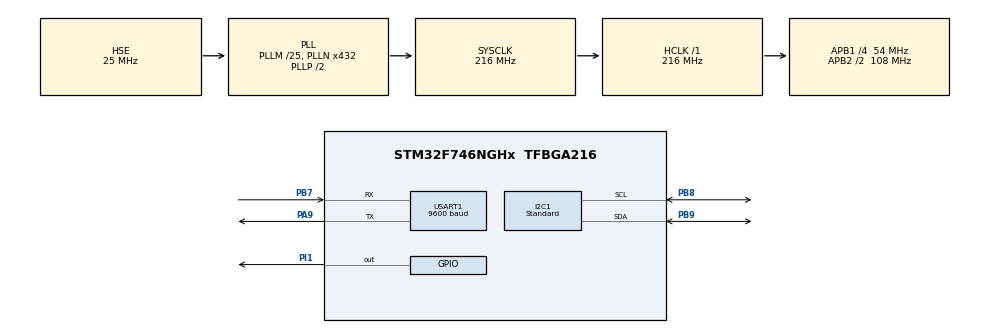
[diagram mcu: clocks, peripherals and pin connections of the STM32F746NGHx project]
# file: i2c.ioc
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CORTEX_M7.ART_ACCLERATOR_ENABLE=1
CORTEX_M7.CPU_DCache=Enabled
CORTEX_M7.CPU_ICache=Enabled
CORTEX_M7.PREFETCH_ENABLE=1
I2C1.I2C_Fall_Time=100
I2C1.I2C_Rise_Time=700
I2C1.I2C_Speed_Mode=I2C_Standard
I2C1.Timing=0x30C03444
Mcu.Family=STM32F7
Mcu.Name=STM32F746NGHx
Mcu.Package=TFBGA216
NVIC.PriorityGroup=NVIC_PRIORITYGROUP_4
NVIC.RCC_IRQn=true\:0\:0\:false\:false\:true\:true
PA13.Mode=Serial_Wire
PA13.Signal=SYS_JTMS-SWDIO
PA14.Mode=Serial_Wire
PA14.Signal=SYS_JTCK-SWCLK
PA9.Mode=Asynchronous
PA9.Signal=USART1_TX
PB7.Mode=Asynchronous
PB7.Signal=USART1_RX
PB8.Mode=I2C
PB8.Signal=I2C1_SCL
PB9.Mode=I2C
PB9.Signal=I2C1_SDA
PH0/OSC_IN.Mode=HSE-External-Oscillator
PH0/OSC_IN.Signal=RCC_OSC_IN
PH1/OSC_OUT.Mode=HSE-External-Oscillator
PH1/OSC_OUT.Signal=RCC_OSC_OUT
PI1.Signal=GPIO_Output
ProjectManager.HeapSize=0x200
ProjectManager.StackSize=0x400
ProjectManager.TargetToolchain=MDK-ARM V5
RCC.AHBFreq_Value=216000000
RCC.APB1CLKDivider=RCC_HCLK_DIV4
RCC.APB1Freq_Value=54000000
RCC.APB1TimFreq_Value=108000000
RCC.APB2CLKDivider=RCC_HCLK_DIV2
RCC.APB2Freq_Value=108000000
RCC.APB2TimFreq_Value=216000000
RCC.CortexFreq_Value=216000000
RCC.HCLKFreq_Value=216000000
RCC.HSE_VALUE=25000000
RCC.HSI_VALUE=16000000
RCC.LSE_VALUE=32768
RCC.PLL48CLockSelection=RCC_CLK48SOURCE_PLLSAIP
RCC.PLLI2SN=100
RCC.PLLM=25
RCC.PLLN=432
RCC.PLLQ=9
RCC.PLLSAIN=384
RCC.PLLSAIP=RCC_PLLSAIP_DIV8
RCC.PLLSAIR=5
RCC.PLLSAIRDiv=RCC_PLLSAIDIVR_8
RCC.PLLSourceVirtual=RCC_PLLSOURCE_HSE
RCC.SDMMCClockSelection=RCC_SDMMC1CLKSOURCE_CLK48
RCC.SYSCLKFreq_VALUE=216000000
RCC.SYSCLKSource=RCC_SYSCLKSOURCE_PLLCLK
RCC.USBFreq_Value=48000000
RCC.VCOOutputFreq_Value=432000000
USART1.BaudRate=9600
USART1.VirtualMode-Asynchronous=VM_ASYNC
board=32F746GDISCOVERY

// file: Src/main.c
/**
  ******************************************************************************
  * @file           : main.c
  * @brief          : Main program body
  ******************************************************************************
  ** This notice applies to any and all portions of this file
  * that are not between comment pairs USER CODE BEGIN and
  * USER CODE END. Other portions of this file, whether
  * inserted by the user or by software development tools
  * are owned by their respective copyright owners.
  *
  * COPYRIGHT(c) 2018 STMicroelectronics
  *
  * Redistribution and use in source and binary forms, with or without modification,
  * are permitted provided that the following conditions are met:
  *   1. Redistributions of source code must retain the above copyright notice,
  *      this list of conditions and the following disclaimer.
  *   2. Redistributions in binary form must reproduce the above copyright notice,
  *      this list of conditions and the following disclaimer in the documentation
  *      and/or other materials provided with the distribution.
  *   3. Neither the name of STMicroelectronics nor the names of its contributors
  *      may be used to endorse or promote products derived from this software
  *      without specific prior written permission.
  *
  * THIS SOFTWARE IS PROVIDED BY THE COPYRIGHT HOLDERS AND CONTRIBUTORS "AS IS"
  * AND ANY EXPRESS OR IMPLIED WARRANTIES, INCLUDING, BUT NOT LIMITED TO, THE
  * IMPLIED WARRANTIES OF MERCHANTABILITY AND FITNESS FOR A PARTICULAR PURPOSE ARE
  * DISCLAIMED. IN NO EVENT SHALL THE COPYRIGHT HOLDER OR CONTRIBUTORS BE LIABLE
  * FOR ANY DIRECT, INDIRECT, INCIDENTAL, SPECIAL, EXEMPLARY, OR CONSEQUENTIAL
  * DAMAGES (INCLUDING, BUT NOT LIMITED TO, PROCUREMENT OF SUBSTITUTE GOODS OR
  * SERVICES; LOSS OF USE, DATA, OR PROFITS; OR BUSINESS INTERRUPTION) HOWEVER
  * CAUSED AND ON ANY THEORY OF LIABILITY, WHETHER IN CONTRACT, STRICT LIABILITY,
  * OR TORT (INCLUDING NEGLIGENCE OR OTHERWISE) ARISING IN ANY WAY OUT OF THE USE
  * OF THIS SOFTWARE, EVEN IF ADVISED OF THE POSSIBILITY OF SUCH DAMAGE.
  *
  ******************************************************************************
  */
#include "main.h"
#include "stm32f7xx_hal.h"

I2C_HandleTypeDef hi2c1;

UART_HandleTypeDef huart1;

/* USER CODE BEGIN PV */
/* Private variables ---------------------------------------------------------*/
#define mpu_address 0xD0
#define mpu_read_address 0xD1
 uint8_t i2cBuf[8];
uint16_t ax,ay,az;
float Xaccel,Yaccel,Zaccel;

/* USER CODE END PV */

void SystemClock_Config(void);
static void MX_GPIO_Init(void);
static void MX_I2C1_Init(void);
static void MX_USART1_UART_Init(void);

/* USER CODE BEGIN PFP */
/* Private function prototypes -----------------------------------------------*/

/* USER CODE END PFP */

int main(void)
{

  /* Enable I-Cache-------------------------------------------------------------*/
  SCB_EnableICache();

  /* Enable D-Cache-------------------------------------------------------------*/
  SCB_EnableDCache();

  /* MCU Configuration----------------------------------------------------------*/

  /* Reset of all peripherals, Initializes the Flash interface and the Systick. */
  HAL_Init();

  /* Configure the system clock */
  SystemClock_Config();

  /* Initialize all configured peripherals */
  MX_GPIO_Init();
  MX_I2C1_Init();
  MX_USART1_UART_Init();
  /* USER CODE BEGIN 2 */
	/*********************Scanning the I2C address*********************/
	for(uint8_t i=0;i<255;i++)
	{
		if(HAL_I2C_IsDeviceReady(&hi2c1,i,1,10)==HAL_OK)
		{
			HAL_GPIO_TogglePin(GPIOI,GPIO_PIN_1);
			break;
		}
	}

	//I2C Write
	//a.Set Accelerometer Range
	i2cBuf[0] = 28;		//Register Address; Accelerometer config 1
	i2cBuf[1] = 0x08;		//Write this value for the +-4g range
	HAL_I2C_Master_Transmit(&hi2c1,mpu_address,i2cBuf,2,1000);

	//I2C Read
	//Requesting to read from register of address 28
	i2cBuf[0] = 28;
	HAL_I2C_Master_Transmit(&hi2c1,mpu_address,i2cBuf,1,10);
	//Read I2C
	i2cBuf[1] = 0x00;
	HAL_I2C_Mem_Read(&hi2c1, mpu_address|0x01,28, 8, &i2cBuf[1], 1, 1000);
	//HAL_I2C_Master_Receive(&hi2c1,mpu_address,&i2cBuf[1],1,1000);
  /* USER CODE END 2 */

  /* Infinite loop */
  /* USER CODE BEGIN WHILE */
  while (1)
  {

		//I2C Read
	//Requesting to read Accelerometer data
	i2cBuf[0] = 0x3B;		// X_axis H
	HAL_I2C_Master_Transmit(&hi2c1,mpu_address,i2cBuf,1,10);
	//Read I2C data
	i2cBuf[1] = 0x00;
	HAL_I2C_Master_Receive(&hi2c1,mpu_address|0x01,&i2cBuf[1],6,10);

		ax = -(i2cBuf[1]<<8 | i2cBuf[2]);
		ay = -(i2cBuf[3]<<8 | i2cBuf[4]);
		az = -(i2cBuf[5]<<8 | i2cBuf[6]);

		Xaccel = ax/8192;
		Yaccel = ay/8192;
		Zaccel = az/8192;

  /* USER CODE END WHILE */

  }

}

void SystemClock_Config(void)
{

  RCC_OscInitTypeDef RCC_OscInitStruct;
  RCC_ClkInitTypeDef RCC_ClkInitStruct;
  RCC_PeriphCLKInitTypeDef PeriphClkInitStruct;

    /**Configure the main internal regulator output voltage
    */
  __HAL_RCC_PWR_CLK_ENABLE();

  __HAL_PWR_VOLTAGESCALING_CONFIG(PWR_REGULATOR_VOLTAGE_SCALE1);

    /**Initializes the CPU, AHB and APB busses clocks
    */
  RCC_OscInitStruct.OscillatorType = RCC_OSCILLATORTYPE_HSE;
  RCC_OscInitStruct.HSEState = RCC_HSE_ON;
  RCC_OscInitStruct.PLL.PLLState = RCC_PLL_ON;
  RCC_OscInitStruct.PLL.PLLSource = RCC_PLLSOURCE_HSE;
  RCC_OscInitStruct.PLL.PLLM = 25;
  RCC_OscInitStruct.PLL.PLLN = 432;
  RCC_OscInitStruct.PLL.PLLP = RCC_PLLP_DIV2;
  RCC_OscInitStruct.PLL.PLLQ = 9;
  if (HAL_RCC_OscConfig(&RCC_OscInitStruct) != HAL_OK)
  {
    _Error_Handler(__FILE__, __LINE__);
  }

    /**Activate the Over-Drive mode
    */
  if (HAL_PWREx_EnableOverDrive() != HAL_OK)
  {
    _Error_Handler(__FILE__, __LINE__);
  }

    /**Initializes the CPU, AHB and APB busses clocks
    */
  RCC_ClkInitStruct.ClockType = RCC_CLOCKTYPE_HCLK|RCC_CLOCKTYPE_SYSCLK
                              |RCC_CLOCKTYPE_PCLK1|RCC_CLOCKTYPE_PCLK2;
  RCC_ClkInitStruct.SYSCLKSource = RCC_SYSCLKSOURCE_PLLCLK;
  RCC_ClkInitStruct.AHBCLKDivider = RCC_SYSCLK_DIV1;
  RCC_ClkInitStruct.APB1CLKDivider = RCC_HCLK_DIV4;
  RCC_ClkInitStruct.APB2CLKDivider = RCC_HCLK_DIV2;

  if (HAL_RCC_ClockConfig(&RCC_ClkInitStruct, FLASH_LATENCY_7) != HAL_OK)
  {
    _Error_Handler(__FILE__, __LINE__);
  }

  PeriphClkInitStruct.PeriphClockSelection = RCC_PERIPHCLK_USART1|RCC_PERIPHCLK_I2C1;
  PeriphClkInitStruct.Usart1ClockSelection = RCC_USART1CLKSOURCE_PCLK2;
  PeriphClkInitStruct.I2c1ClockSelection = RCC_I2C1CLKSOURCE_PCLK1;
  if (HAL_RCCEx_PeriphCLKConfig(&PeriphClkInitStruct) != HAL_OK)
  {
    _Error_Handler(__FILE__, __LINE__);
  }

    /**Configure the Systick interrupt time
    */
  HAL_SYSTICK_Config(HAL_RCC_GetHCLKFreq()/1000);

    /**Configure the Systick
    */
  HAL_SYSTICK_CLKSourceConfig(SYSTICK_CLKSOURCE_HCLK);

  /* SysTick_IRQn interrupt configuration */
  HAL_NVIC_SetPriority(SysTick_IRQn, 0, 0);
}

/* I2C1 init function */
static void MX_I2C1_Init(void)
{

  hi2c1.Instance = I2C1;
  hi2c1.Init.Timing = 0x30C03444;
  hi2c1.Init.OwnAddress1 = 0;
  hi2c1.Init.AddressingMode = I2C_ADDRESSINGMODE_7BIT;
  hi2c1.Init.DualAddressMode = I2C_DUALADDRESS_DISABLE;
  hi2c1.Init.OwnAddress2 = 0;
  hi2c1.Init.OwnAddress2Masks = I2C_OA2_NOMASK;
  hi2c1.Init.GeneralCallMode = I2C_GENERALCALL_DISABLE;
  hi2c1.Init.NoStretchMode = I2C_NOSTRETCH_DISABLE;
  if (HAL_I2C_Init(&hi2c1) != HAL_OK)
  {
    _Error_Handler(__FILE__, __LINE__);
  }

    /**Configure Analogue filter
    */
  if (HAL_I2CEx_ConfigAnalogFilter(&hi2c1, I2C_ANALOGFILTER_ENABLE) != HAL_OK)
  {
    _Error_Handler(__FILE__, __LINE__);
  }

    /**Configure Digital filter
    */
  if (HAL_I2CEx_ConfigDigitalFilter(&hi2c1, 0) != HAL_OK)
  {
    _Error_Handler(__FILE__, __LINE__);
  }

}

/* USART1 init function */
static void MX_USART1_UART_Init(void)
{

  huart1.Instance = USART1;
  huart1.Init.BaudRate = 9600;
  huart1.Init.WordLength = UART_WORDLENGTH_8B;
  huart1.Init.StopBits = UART_STOPBITS_1;
  huart1.Init.Parity = UART_PARITY_NONE;
  huart1.Init.Mode = UART_MODE_TX_RX;
  huart1.Init.HwFlowCtl = UART_HWCONTROL_NONE;
  huart1.Init.OverSampling = UART_OVERSAMPLING_16;
  huart1.Init.OneBitSampling = UART_ONE_BIT_SAMPLE_DISABLE;
  huart1.AdvancedInit.AdvFeatureInit = UART_ADVFEATURE_NO_INIT;
  if (HAL_UART_Init(&huart1) != HAL_OK)
  {
    _Error_Handler(__FILE__, __LINE__);
  }

}

/** Configure pins as
        * Analog
        * Input
        * Output
        * EVENT_OUT
        * EXTI
*/
static void MX_GPIO_Init(void)
{

  GPIO_InitTypeDef GPIO_InitStruct;

  /* GPIO Ports Clock Enable */
  __HAL_RCC_GPIOB_CLK_ENABLE();
  __HAL_RCC_GPIOA_CLK_ENABLE();
  __HAL_RCC_GPIOI_CLK_ENABLE();
  __HAL_RCC_GPIOH_CLK_ENABLE();

  /*Configure GPIO pin Output Level */
  HAL_GPIO_WritePin(GPIOI, GPIO_PIN_1, GPIO_PIN_RESET);

  /*Configure GPIO pin : PI1 */
  GPIO_InitStruct.Pin = GPIO_PIN_1;
  GPIO_InitStruct.Mode = GPIO_MODE_OUTPUT_PP;
  GPIO_InitStruct.Pull = GPIO_NOPULL;
  GPIO_InitStruct.Speed = GPIO_SPEED_FREQ_LOW;
  HAL_GPIO_Init(GPIOI, &GPIO_InitStruct);

}

void _Error_Handler(char *file, int line)
{
  while(1)
  {
  }
}

/************************ (C) COPYRIGHT STMicroelectronics *****END OF FILE****/
